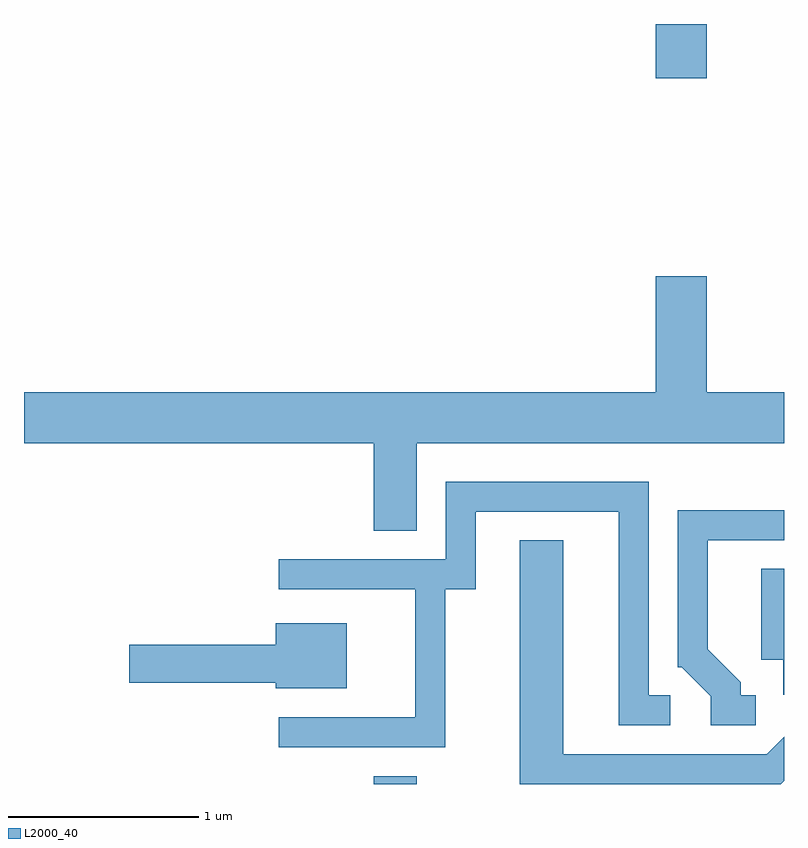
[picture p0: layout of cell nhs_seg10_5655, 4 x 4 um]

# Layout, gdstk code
import gdstk
lib = gdstk.Library(unit=1e-6, precision=1e-09)
def R(c, l, rs):  # rectangles x0, y0, x1, y1
    for r in rs: c.add(gdstk.rectangle(r[:2], r[2:], *l))
def P(c, l, *ps):  # polygons
    for p in ps: c.add(gdstk.Polygon(p, *l))
L2000_40 = (2000, 40)

nhs_seg10_5655 = lib.new_cell('nhs_seg10_5655')
R(nhs_seg10_5655, L2000_40, [(353.451,2156.522,353.679,2156.564), (354.936,2160.236,355.204,2160.522)])
P(nhs_seg10_5655, L2000_40, [(351.611,2158.316),(353.451,2158.316),(353.451,2157.856),(353.679,2157.856),(353.679,2158.316),(355.611,2158.316),(355.611,2158.584),(355.204,2158.584),(355.204,2159.194),(354.936,2159.194),(354.936,2158.584),(351.611,2158.584)],
  [(353.829,2157.546),(353.989,2157.546),(353.989,2157.956),(354.741,2157.956),(354.741,2156.831),(355.013,2156.831),(355.013,2156.989),(354.899,2156.989),(354.899,2158.114),(353.831,2158.114),(353.831,2157.704),(352.953,2157.704),(352.953,2157.546),(353.671,2157.546),(353.671,2156.874),(352.953,2156.874),(352.953,2156.716),(353.829,2156.716)],
  [(355.463,2156.989),(355.384,2156.989),(355.384,2157.057),(355.209,2157.232),(355.209,2157.806),(355.611,2157.806),(355.611,2157.964),(355.051,2157.964),(355.051,2157.136),(355.074,2157.136),(355.226,2156.984),(355.226,2156.831),(355.463,2156.831)],
  [(355.611,2156.54),(355.611,2156.771),(355.519,2156.679),(354.449,2156.679),(354.449,2157.804),(354.221,2157.804),(354.221,2156.522),(355.593,2156.522)],
  [(355.611,2157.654),(355.491,2157.654),(355.491,2157.176),(355.606,2157.176),(355.606,2156.991),(355.611,2156.991)],
  [(353.309,2157.369),(352.936,2157.369),(352.936,2157.254),(352.166,2157.254),(352.166,2157.056),(352.936,2157.056),(352.936,2157.026),(353.309,2157.026)])

lib.write_gds('nhs_seg10_5655.gds')
